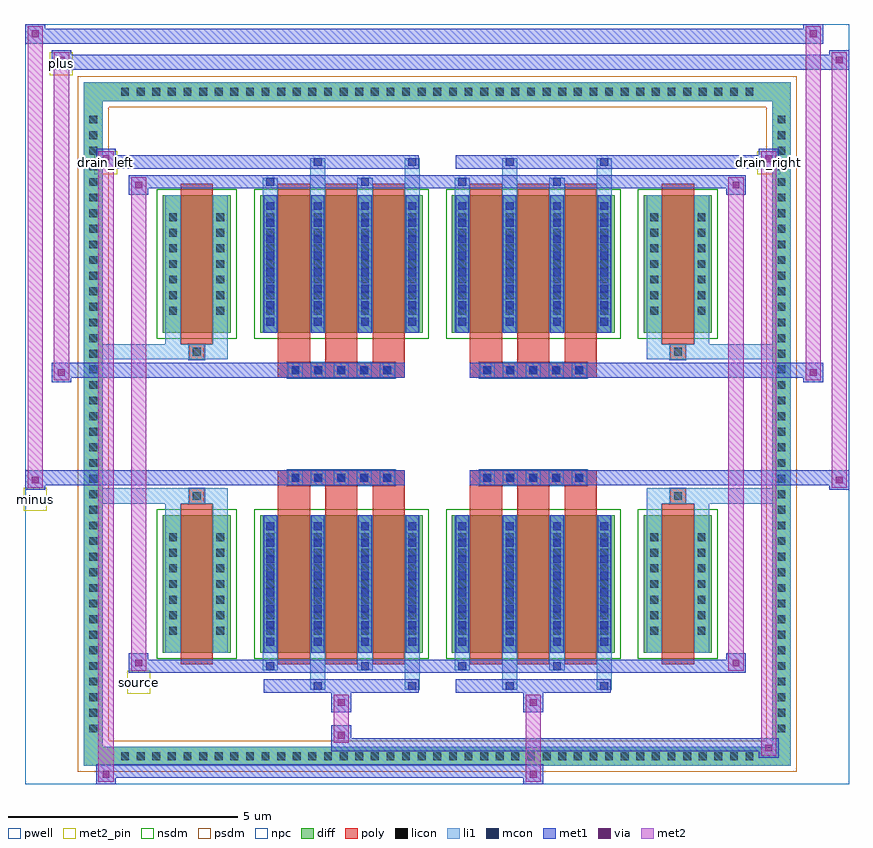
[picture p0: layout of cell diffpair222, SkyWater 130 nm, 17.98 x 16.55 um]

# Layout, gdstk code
import gdstk
lib = gdstk.Library(unit=1e-6, precision=5e-09)
def R(c, l, rs):  # rectangles x0, y0, x1, y1
    for r in rs: c.add(gdstk.rectangle(r[:2], r[2:], *l))
def A(c, l, x, y, w, h, nx, ny, dx, dy):  # array of equal rectangles
    R(c, l, [(x+i*dx, y+j*dy, x+i*dx+w, y+j*dy+h) for i in range(nx) for j in range(ny)])
def P(c, l, *ps):  # polygons
    for p in ps: c.add(gdstk.Polygon(p, *l))
pwell = (64, 44)
diff = (65, 20)
poly = (66, 20)
licon = (66, 44)
li1 = (67, 20)
mcon = (67, 44)
met1 = (68, 20)
via = (68, 44)
met2_pin = (69, 16)
met2 = (69, 20)
nsdm = (93, 44)
psdm = (94, 20)
npc = (95, 20)

diffpair222 = lib.new_cell('diffpair222')
R(diffpair222, pwell, [(-8.97,-7.84,8.97,8.71), (-6.29,-6.03,-0.01,-0.805), (0.01,-6.03,6.29,-0.805), (-6.29,0.805,-0.01,6.03), (0.01,0.805,6.29,6.03)])
A(diffpair222, diff, -7.005, -7.44, 0.41, 0.41, 41, 2, 0.34, 14.47)
A(diffpair222, diff, -7.7, -6.835, 0.41, 0.41, 1, 40, 0, 0.34)
A(diffpair222, diff, 7.29, -6.835, 0.41, 0.41, 1, 40, 0, 0.34)
R(diffpair222, diff, [(-7.005,-7.44,7.005,-7.03), (-7.7,-6.835,-7.29,6.835), (7.29,-6.835,7.7,6.835), (-5.98,-4.985,-4.5,-1.985), (-3.86,-4.985,-0.32,-1.985), (0.32,-4.985,3.86,-1.985), (4.5,-4.985,5.98,-1.985), (-5.98,1.985,-4.5,4.985), (-3.86,1.985,-0.32,4.985), (0.32,1.985,3.86,4.985), (4.5,1.985,5.98,4.985), (-7.005,7.03,7.005,7.44)])
P(diffpair222, diff, [(7.7,7.44),(-7.7,7.44),(-7.7,-7.03),(-7.29,-7.03),(-7.29,7.03),(7.29,7.03),(7.29,-7.03),(-7.29,-7.03),(-7.7,-7.03),(-7.7,-7.44),(7.7,-7.44)])
A(diffpair222, poly, -3.47, -5.235, 0.7, 3.5, 3, 2, 1.03, 6.97)
A(diffpair222, poly, 0.71, -5.235, 0.7, 3.5, 3, 2, 1.03, 6.97)
A(diffpair222, poly, -3.47, -1.735, 0.7, 0.4, 3, 2, 1.03, 3.07)
A(diffpair222, poly, 0.71, -1.735, 0.7, 0.4, 3, 2, 1.03, 3.07)
A(diffpair222, poly, -3.255, -1.335, 0.33, 0.33, 5, 2, 0.5, 2.34)
A(diffpair222, poly, 0.925, -1.335, 0.33, 0.33, 5, 2, 0.5, 2.34)
R(diffpair222, poly, [(-5.59,-5.235,-4.89,-1.735), (4.89,-5.235,5.59,-1.735), (-5.405,-1.735,-5.075,-1.405), (-5.405,-1.735,-5.075,-1.405), (5.075,-1.735,5.405,-1.405), (5.075,-1.735,5.405,-1.405), (-3.47,-1.335,-0.71,-1.005), (0.71,-1.335,3.47,-1.005), (-3.47,1.005,-0.71,1.335), (0.71,1.005,3.47,1.335), (-5.405,1.405,-5.075,1.735), (-5.405,1.405,-5.075,1.735), (5.075,1.405,5.405,1.735), (5.075,1.405,5.405,1.735), (-5.59,1.735,-4.89,5.235), (4.89,1.735,5.59,5.235)])
A(diffpair222, licon, -6.885, -7.32, 0.17, 0.17, 41, 2, 0.34, 14.47)
A(diffpair222, licon, -7.58, -6.715, 0.17, 0.17, 1, 40, 0, 0.34)
A(diffpair222, licon, 7.41, -6.715, 0.17, 0.17, 1, 40, 0, 0.34)
A(diffpair222, licon, -5.84, -4.59, 0.17, 0.17, 1, 7, 0, 0.34)
A(diffpair222, licon, -4.81, -4.59, 0.17, 0.17, 1, 7, 0, 0.34)
A(diffpair222, licon, -3.72, -4.59, 0.17, 0.17, 4, 7, 1.03, 0.34)
A(diffpair222, licon, 0.46, -4.59, 0.17, 0.17, 4, 7, 1.03, 0.34)
A(diffpair222, licon, 4.64, -4.59, 0.17, 0.17, 1, 7, 0, 0.34)
A(diffpair222, licon, 5.67, -4.59, 0.17, 0.17, 1, 7, 0, 0.34)
A(diffpair222, licon, -3.175, -1.255, 0.17, 0.17, 5, 2, 0.5, 2.34)
A(diffpair222, licon, 1.005, -1.255, 0.17, 0.17, 5, 2, 0.5, 2.34)
A(diffpair222, licon, -5.84, 2.38, 0.17, 0.17, 1, 7, 0, 0.34)
A(diffpair222, licon, -4.81, 2.38, 0.17, 0.17, 1, 7, 0, 0.34)
A(diffpair222, licon, -3.72, 2.38, 0.17, 0.17, 4, 7, 1.03, 0.34)
A(diffpair222, licon, 0.46, 2.38, 0.17, 0.17, 4, 7, 1.03, 0.34)
A(diffpair222, licon, 4.64, 2.38, 0.17, 0.17, 1, 7, 0, 0.34)
A(diffpair222, licon, 5.67, 2.38, 0.17, 0.17, 1, 7, 0, 0.34)
R(diffpair222, licon, [(-5.325,-1.655,-5.155,-1.485), (5.155,-1.655,5.325,-1.485), (-5.325,1.485,-5.155,1.655), (5.155,1.485,5.325,1.655)])
A(diffpair222, li1, -6.965, -7.4, 0.33, 0.33, 41, 2, 0.34, 14.47)
A(diffpair222, li1, -7.66, -6.795, 0.33, 0.33, 1, 40, 0, 0.34)
A(diffpair222, li1, 7.33, -6.795, 0.33, 0.33, 1, 40, 0, 0.34)
A(diffpair222, li1, -3.8, -4.985, 0.33, 3, 4, 2, 1.03, 6.97)
A(diffpair222, li1, 0.38, -4.985, 0.33, 3, 4, 2, 1.03, 6.97)
A(diffpair222, li1, -3.72, -4.83, 0.17, 0.17, 4, 8, 1.03, 0.36)
A(diffpair222, li1, -3.72, -4.83, 0.17, 2.69, 4, 2, 1.03, 6.97)
A(diffpair222, li1, 0.46, -4.83, 0.17, 0.17, 4, 8, 1.03, 0.36)
A(diffpair222, li1, 0.46, -4.83, 0.17, 2.69, 4, 2, 1.03, 6.97)
A(diffpair222, li1, -5.92, -4.67, 0.33, 0.33, 1, 7, 0, 0.34)
A(diffpair222, li1, -4.89, -4.67, 0.33, 0.33, 1, 7, 0, 0.34)
A(diffpair222, li1, -3.8, -4.67, 0.33, 0.33, 4, 7, 1.03, 0.34)
A(diffpair222, li1, 0.38, -4.67, 0.33, 0.33, 4, 7, 1.03, 0.34)
A(diffpair222, li1, 4.56, -4.67, 0.33, 0.33, 1, 7, 0, 0.34)
A(diffpair222, li1, 5.59, -4.67, 0.33, 0.33, 1, 7, 0, 0.34)
A(diffpair222, li1, -3.255, -1.335, 0.33, 0.33, 5, 2, 0.5, 2.34)
A(diffpair222, li1, 0.925, -1.335, 0.33, 0.33, 5, 2, 0.5, 2.34)
A(diffpair222, li1, -3.72, 2.14, 0.17, 0.17, 4, 8, 1.03, 0.36)
A(diffpair222, li1, 0.46, 2.14, 0.17, 0.17, 4, 8, 1.03, 0.36)
A(diffpair222, li1, -5.92, 2.3, 0.33, 0.33, 1, 7, 0, 0.34)
A(diffpair222, li1, -4.89, 2.3, 0.33, 0.33, 1, 7, 0, 0.34)
A(diffpair222, li1, -3.8, 2.3, 0.33, 0.33, 4, 7, 1.03, 0.34)
A(diffpair222, li1, 0.38, 2.3, 0.33, 0.33, 4, 7, 1.03, 0.34)
A(diffpair222, li1, 4.56, 2.3, 0.33, 0.33, 1, 7, 0, 0.34)
A(diffpair222, li1, 5.59, 2.3, 0.33, 0.33, 1, 7, 0, 0.34)
R(diffpair222, li1, [(-7.7,-7.44,-7.29,-7.03), (-7.7,-7.44,-7.29,-7.03), (-7.29,-7.44,7.29,-7.03), (7.29,-7.44,7.7,-7.03), (7.29,-7.44,7.7,-7.03), (-7.7,-7.03,-7.29,7.03), (7.29,-7.03,7.7,7.03), (-2.77,-5.79,-2.44,-4.985), (-2.69,-5.79,-2.52,-5.62), (-0.71,-5.79,-0.38,-4.985), (-0.63,-5.79,-0.46,-5.62), (1.41,-5.79,1.74,-4.985), (1.49,-5.79,1.66,-5.62), (3.47,-5.79,3.8,-4.985), (3.55,-5.79,3.72,-5.62), (-3.8,-5.36,-3.47,-4.985), (-3.72,-5.36,-3.55,-5.19), (-1.74,-5.36,-1.41,-4.985), (-1.66,-5.36,-1.49,-5.19), (0.38,-5.36,0.71,-4.985), (0.46,-5.36,0.63,-5.19), (2.44,-5.36,2.77,-4.985), (2.52,-5.36,2.69,-5.19), (-5.92,-4.985,-5.59,-1.985), (-4.89,-4.985,-4.56,-1.985), (4.56,-4.985,4.89,-1.985), (5.59,-4.985,5.92,-1.985), (-5.92,-1.985,-5.59,-1.405), (-4.89,-1.985,-4.56,-1.405), (4.56,-1.985,4.89,-1.405), (5.59,-1.985,5.92,-1.405), (-7.7,-1.735,-5.405,-1.405), (-5.92,-1.735,-5.405,-1.405), (-5.405,-1.735,-5.075,-1.405), (-5.075,-1.735,-4.56,-1.405), (4.56,-1.735,5.075,-1.405), (5.075,-1.735,5.405,-1.405), (5.075,-1.735,7.7,-1.405), (5.405,-1.735,5.92,-1.405), (-7.7,1.405,-5.405,1.735), (-5.92,1.405,-5.405,1.735), (-5.92,1.405,-5.59,1.985), (-5.405,1.405,-5.075,1.735), (-5.075,1.405,-4.56,1.735), (-4.89,1.405,-4.56,1.985), (4.56,1.405,5.075,1.735), (4.56,1.405,4.89,1.985), (5.075,1.405,5.405,1.735), (5.075,1.405,7.7,1.735), (5.405,1.405,5.92,1.735), (5.59,1.405,5.92,1.985), (-5.92,1.985,-5.59,4.985), (-4.89,1.985,-4.56,4.985), (4.56,1.985,4.89,4.985), (5.59,1.985,5.92,4.985), (-3.8,4.985,-3.47,5.36), (-2.77,4.985,-2.44,5.79), (-1.74,4.985,-1.41,5.36), (-0.71,4.985,-0.38,5.79), (0.38,4.985,0.71,5.36), (1.41,4.985,1.74,5.79), (2.44,4.985,2.77,5.36), (3.47,4.985,3.8,5.79), (-3.72,5.19,-3.55,5.36), (-1.66,5.19,-1.49,5.36), (0.46,5.19,0.63,5.36), (2.52,5.19,2.69,5.36), (-2.69,5.62,-2.52,5.79), (-0.63,5.62,-0.46,5.79), (1.49,5.62,1.66,5.79), (3.55,5.62,3.72,5.79), (-7.7,7.03,-7.29,7.44), (-7.7,7.03,-7.29,7.44), (-7.29,7.03,7.29,7.44), (7.29,7.03,7.7,7.44), (7.29,7.03,7.7,7.44)])
A(diffpair222, mcon, -3.72, -4.83, 0.17, 0.17, 4, 8, 1.03, 0.36)
A(diffpair222, mcon, 0.46, -4.83, 0.17, 0.17, 4, 8, 1.03, 0.36)
A(diffpair222, mcon, -3.175, -1.255, 0.17, 0.17, 5, 2, 0.5, 2.34)
A(diffpair222, mcon, 1.005, -1.255, 0.17, 0.17, 5, 2, 0.5, 2.34)
A(diffpair222, mcon, -3.72, 2.14, 0.17, 0.17, 4, 8, 1.03, 0.36)
A(diffpair222, mcon, 0.46, 2.14, 0.17, 0.17, 4, 8, 1.03, 0.36)
R(diffpair222, mcon, [(-2.69,-5.79,-2.52,-5.62), (-0.63,-5.79,-0.46,-5.62), (1.49,-5.79,1.66,-5.62), (3.55,-5.79,3.72,-5.62), (-3.72,-5.36,-3.55,-5.19), (-1.66,-5.36,-1.49,-5.19), (0.46,-5.36,0.63,-5.19), (2.52,-5.36,2.69,-5.19), (-3.72,5.19,-3.55,5.36), (-1.66,5.19,-1.49,5.36), (0.46,5.19,0.63,5.36), (2.52,5.19,2.69,5.36), (-2.69,5.62,-2.52,5.79), (-0.63,5.62,-0.46,5.79), (1.49,5.62,1.66,5.79), (3.55,5.62,3.72,5.79)])
A(diffpair222, met1, -3.78, -4.985, 0.29, 3, 4, 2, 1.03, 6.97)
A(diffpair222, met1, 0.4, -4.985, 0.29, 3, 4, 2, 1.03, 6.97)
A(diffpair222, met1, -3.78, -4.89, 0.29, 0.29, 4, 8, 1.03, 0.36)
A(diffpair222, met1, 0.4, -4.89, 0.29, 0.29, 4, 8, 1.03, 0.36)
A(diffpair222, met1, -3.235, -1.315, 0.29, 0.29, 5, 2, 0.5, 2.34)
A(diffpair222, met1, 0.945, -1.315, 0.29, 0.29, 5, 2, 0.5, 2.34)
A(diffpair222, met1, -3.78, 2.08, 0.29, 0.29, 4, 8, 1.03, 0.36)
A(diffpair222, met1, 0.4, 2.08, 0.29, 0.29, 4, 8, 1.03, 0.36)
R(diffpair222, met1, [(-7.43,-7.84,-7,-7.41), (1.875,-7.84,2.305,-7.41), (-7.43,-7.7,2.305,-7.41), (7,-7.27,7.43,-6.84), (-2.305,-7.13,7.43,-6.84), (-2.305,-6.99,-1.875,-6.56), (-2.305,-6.28,-1.875,-5.85), (1.875,-6.28,2.305,-5.85), (-3.78,-5.85,-0.4,-5.56), (-2.75,-5.85,-2.46,-5.56), (-0.69,-5.85,-0.4,-5.56), (0.4,-5.85,3.78,-5.56), (1.43,-5.85,1.72,-5.56), (3.49,-5.85,3.78,-5.56), (-6.72,-5.42,-6.29,-4.99), (-6.72,-5.42,-3.78,-5.13), (-3.78,-5.42,-3.49,-5.13), (-3.78,-5.42,-0.4,-5.13), (-1.72,-5.42,-1.43,-5.13), (-0.4,-5.42,0.4,-5.13), (0.4,-5.42,0.69,-5.13), (0.4,-5.42,3.78,-5.13), (2.46,-5.42,2.75,-5.13), (3.78,-5.42,6.72,-5.13), (6.29,-5.42,6.72,-4.99), (-8.97,-1.435,-8.54,-1.005), (8.54,-1.435,8.97,-1.005), (-8.97,-1.335,-0.71,-1.005), (-3.47,-1.335,-0.71,-1.005), (0.71,-1.335,3.47,-1.005), (0.71,-1.335,8.97,-1.005), (-8.4,0.905,-7.97,1.335), (7.97,0.905,8.4,1.335), (-8.4,1.005,-3.47,1.335), (-3.47,1.005,-0.71,1.335), (0.71,1.005,3.47,1.335), (3.47,1.005,8.4,1.335), (-6.72,4.99,-6.29,5.42), (6.29,4.99,6.72,5.42), (-6.72,5.13,-3.78,5.42), (-3.78,5.13,-3.49,5.42), (-3.78,5.13,-0.4,5.42), (-1.72,5.13,-1.43,5.42), (-0.4,5.13,0.4,5.42), (0.4,5.13,0.69,5.42), (0.4,5.13,3.78,5.42), (2.46,5.13,2.75,5.42), (3.78,5.13,6.72,5.42), (-7.43,5.56,-7,5.99), (-7.43,5.56,-3.78,5.85), (-3.78,5.56,-0.4,5.85), (-2.75,5.56,-2.46,5.85), (-0.69,5.56,-0.4,5.85), (0.4,5.56,3.78,5.85), (1.43,5.56,1.72,5.85), (3.49,5.56,3.78,5.85), (3.78,5.56,7.43,5.85), (7,5.56,7.43,5.99), (-8.4,7.71,-7.97,8.14), (-8.4,7.71,-6.29,8.04), (-6.29,7.71,6.29,8.04), (6.29,7.71,8.97,8.04), (8.54,7.71,8.97,8.14), (-8.97,8.28,-8.54,8.71), (-8.97,8.28,-6.29,8.61), (-6.29,8.28,6.29,8.61), (6.29,8.28,8.4,8.61), (7.97,8.28,8.4,8.71)])
R(diffpair222, via, [(-7.29,-7.7,-7.14,-7.55), (2.015,-7.7,2.165,-7.55), (7.14,-7.13,7.29,-6.98), (-2.165,-6.85,-2.015,-6.7), (-2.165,-6.14,-2.015,-5.99), (2.015,-6.14,2.165,-5.99), (-6.58,-5.28,-6.43,-5.13), (6.43,-5.28,6.58,-5.13), (-8.83,-1.295,-8.68,-1.145), (8.68,-1.295,8.83,-1.145), (-8.26,1.045,-8.11,1.195), (8.11,1.045,8.26,1.195), (-6.58,5.13,-6.43,5.28), (6.43,5.13,6.58,5.28), (-7.29,5.7,-7.14,5.85), (7.14,5.7,7.29,5.85), (-8.26,7.85,-8.11,8), (8.68,7.85,8.83,8), (-8.83,8.42,-8.68,8.57), (8.11,8.42,8.26,8.57)])
R(diffpair222, met2_pin, [(-6.755,-5.87,-6.255,-5.37), (-9.005,-1.885,-8.505,-1.385), (-7.465,5.44,-6.965,5.94), (6.965,5.44,7.465,5.94), (-8.435,7.59,-7.935,8.09)])
R(diffpair222, met2, [(-7.38,-7.79,-7.05,-7.46), (-7.38,-7.79,-7.05,5.94), (1.925,-7.79,2.255,-7.46), (1.925,-7.46,2.255,-6.23), (7.05,-7.22,7.38,-6.89), (7.05,-7.22,7.38,5.94), (-2.255,-6.94,-1.925,-6.61), (-2.255,-6.61,-1.925,-6.23), (-2.255,-6.23,-1.925,-5.9), (1.925,-6.23,2.255,-5.9), (-6.67,-5.37,-6.34,-5.04), (-6.67,-5.37,-6.34,5.37), (6.34,-5.37,6.67,-5.04), (6.34,-5.37,6.67,5.37), (-8.92,-1.385,-8.59,-1.055), (-8.92,-1.385,-8.59,8.66), (8.59,-1.385,8.92,-1.055), (8.59,-1.385,8.92,8.09), (-8.35,0.955,-8.02,1.285), (-8.35,0.955,-8.02,8.09), (8.02,0.955,8.35,1.285), (8.02,0.955,8.35,8.66), (-6.67,5.04,-6.34,5.37), (6.34,5.04,6.67,5.37), (-7.38,5.61,-7.05,5.94), (7.05,5.61,7.38,5.94), (-8.35,7.76,-8.02,8.09), (8.59,7.76,8.92,8.09), (-8.92,8.33,-8.59,8.66), (8.02,8.33,8.35,8.66)])
P(diffpair222, met2, [(8.92,-1.385),(8.92,-1.385),(8.92,-1.055),(8.92,-1.055)],
  [(8.92,7.76),(8.92,7.76),(8.92,8.09),(8.92,8.09)],
  [(-8.59,-1.385),(-8.59,-1.385),(-8.59,-1.055),(-8.59,-1.055)],
  [(-8.59,8.33),(-8.59,8.33),(-8.59,8.66),(-8.59,8.66)],
  [(8.35,0.955),(8.35,0.955),(8.35,1.285),(8.35,1.285)],
  [(8.35,8.33),(8.35,8.33),(8.35,8.66),(8.35,8.66)],
  [(-8.02,0.955),(-8.02,0.955),(-8.02,1.285),(-8.02,1.285)],
  [(-8.02,7.76),(-8.02,7.76),(-8.02,8.09),(-8.02,8.09)],
  [(-7.05,-7.79),(-7.05,-7.79),(-7.05,-7.46),(-7.05,-7.46)],
  [(-7.05,5.61),(-7.05,5.61),(-7.05,5.94),(-7.05,5.94)],
  [(7.38,-7.22),(7.38,-7.22),(7.38,-6.89),(7.38,-6.89)],
  [(7.38,5.61),(7.38,5.61),(7.38,5.94),(7.38,5.94)],
  [(-6.34,-5.37),(-6.34,-5.37),(-6.34,-5.04),(-6.34,-5.04)],
  [(-6.34,5.04),(-6.34,5.04),(-6.34,5.37),(-6.34,5.37)],
  [(6.67,-5.37),(6.67,-5.37),(6.67,-5.04),(6.67,-5.04)],
  [(6.67,5.04),(6.67,5.04),(6.67,5.37),(6.67,5.37)])
R(diffpair222, nsdm, [(-6.11,-5.115,-4.37,-1.855), (-3.99,-5.115,-0.19,-1.855), (0.19,-5.115,3.99,-1.855), (4.37,-5.115,6.11,-1.855), (-6.11,1.855,-4.37,5.115), (-3.99,1.855,-0.19,5.115), (0.19,1.855,3.99,5.115), (4.37,1.855,6.11,5.115)])
P(diffpair222, psdm, [(7.83,7.57),(-7.83,7.57),(-7.83,-6.9),(-7.16,-6.9),(-7.16,6.9),(7.16,6.9),(7.16,-6.9),(-7.16,-6.9),(-7.83,-6.9),(-7.83,-7.57),(7.83,-7.57)])
A(diffpair222, npc, -3.275, -1.355, 0.37, 0.37, 5, 2, 0.5, 2.34)
A(diffpair222, npc, 0.905, -1.355, 0.37, 0.37, 5, 2, 0.5, 2.34)
R(diffpair222, npc, [(-5.425,-1.755,-5.055,-1.385), (5.055,-1.755,5.425,-1.385), (-3.275,-1.355,-2.405,-0.985), (-3.275,-1.355,-2.405,-0.985), (-2.775,-1.355,-1.905,-0.985), (-2.775,-1.355,-1.905,-0.985), (-2.275,-1.355,-1.405,-0.985), (-2.275,-1.355,-1.405,-0.985), (-1.775,-1.355,-0.905,-0.985), (-1.775,-1.355,-0.905,-0.985), (0.905,-1.355,1.775,-0.985), (0.905,-1.355,1.775,-0.985), (1.405,-1.355,2.275,-0.985), (1.405,-1.355,2.275,-0.985), (1.905,-1.355,2.775,-0.985), (1.905,-1.355,2.775,-0.985), (2.405,-1.355,3.275,-0.985), (2.405,-1.355,3.275,-0.985), (-3.275,0.985,-2.405,1.355), (-3.275,0.985,-2.405,1.355), (-2.775,0.985,-1.905,1.355), (-2.775,0.985,-1.905,1.355), (-2.275,0.985,-1.405,1.355), (-2.275,0.985,-1.405,1.355), (-1.775,0.985,-0.905,1.355), (-1.775,0.985,-0.905,1.355), (0.905,0.985,1.775,1.355), (0.905,0.985,1.775,1.355), (1.405,0.985,2.275,1.355), (1.405,0.985,2.275,1.355), (1.905,0.985,2.775,1.355), (1.905,0.985,2.775,1.355), (2.405,0.985,3.275,1.355), (2.405,0.985,3.275,1.355), (-5.425,1.385,-5.055,1.755), (5.055,1.385,5.425,1.755)])
diffpair222.add(gdstk.Label('minus', (-8.755,-1.635), layer=69, texttype=5))
diffpair222.add(gdstk.Label('drain_right', (7.215,5.69), layer=69, texttype=5))
diffpair222.add(gdstk.Label('drain_left', (-7.215,5.69), layer=69, texttype=5))
diffpair222.add(gdstk.Label('source', (-6.505,-5.62), layer=69, texttype=5))
diffpair222.add(gdstk.Label('plus', (-8.185,7.84), layer=69, texttype=5))

lib.write_gds('diffpair222.gds')
